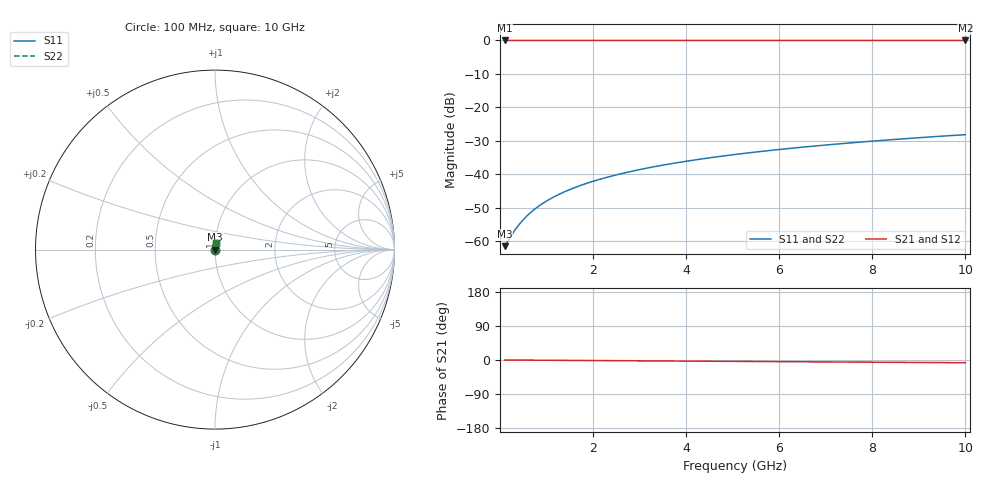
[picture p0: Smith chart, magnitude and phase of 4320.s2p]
# Hz S RI R 50.00
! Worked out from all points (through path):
!   100 points, 100 MHz to 10 GHz, reference 50 ohm
!   highest |S21| = -0.01 dB at 100 MHz (marker M1); lowest = 0.0 dB at 10 GHz (marker M2)
!   group delay of S21, straight-line fit = 2.01 ps
!   lowest |S11| = -61.4 dB at 100 MHz (marker M3), VSWR 1.00, Z = 50.1 + j0.0391 ohm
!   |S11| at or under -10 dB: start of sweep to end of sweep
!   |S22| runs from -61.4 to -28.1 dB; largest |S21 - S12| = 0
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1e8  0.000751 0.000391  0.9992 -0.00126  0.9992 -0.00126  0.000751 0.000391
3e8  0.000762 0.00117  0.9992 -0.00377  0.9992 -0.00377  0.000762 0.00117
4e8  0.000769 0.00156  0.9992 -0.00502  0.9992 -0.00502  0.000769 0.00156
5e8  0.000775 0.00195  0.9992 -0.00628  0.9992 -0.00628  0.000775 0.00195
6e8  0.000782 0.00234  0.9992 -0.00753  0.9992 -0.00753  0.000782 0.00234
7e8  0.000791 0.00274  0.9992 -0.00879  0.9992 -0.00879  0.000791 0.00274
8e8  0.000799 0.00313  0.9992 -0.01  0.9992 -0.01  0.000799 0.00313
1e9  0.00082 0.00391  0.9991 -0.0126  0.9991 -0.0126  0.00082 0.00391
1.2e9  0.000844 0.00469  0.9991 -0.0151  0.9991 -0.0151  0.000844 0.00469
1.5e9  0.000887 0.00586  0.999 -0.0188  0.999 -0.0188  0.000887 0.00586
1.8e9  0.000938 0.00703  0.9989 -0.0226  0.9989 -0.0226  0.000938 0.00703
2.1e9  0.000997 0.0082  0.9988 -0.0264  0.9988 -0.0264  0.000997 0.0082
2.5e9  0.00109 0.00976  0.9987 -0.0314  0.9987 -0.0314  0.00109 0.00976
2.9e9  0.0012 0.0113  0.9985 -0.0364  0.9985 -0.0364  0.0012 0.0113
3.4e9  0.00136 0.0133  0.9982 -0.0427  0.9982 -0.0427  0.00136 0.0133
4.2e9  0.00166 0.0164  0.9976 -0.0527  0.9976 -0.0527  0.00166 0.0164
5.1e9  0.00207 0.0199  0.9969 -0.0641  0.9969 -0.0641  0.00207 0.0199
5.9e9  0.00251 0.023  0.9961 -0.0741  0.9961 -0.0741  0.00251 0.023
6.7e9  0.00301 0.0261  0.9952 -0.0841  0.9952 -0.0841  0.00301 0.0261
7.5e9  0.00357 0.0291  0.9942 -0.0942  0.9942 -0.0942  0.00357 0.0291
8.4e9  0.00428 0.0326  0.993 -0.1055  0.993 -0.1055  0.00428 0.0326
1e10  0.00573 0.0387  0.9904 -0.1255  0.9904 -0.1255  0.00573 0.0387
